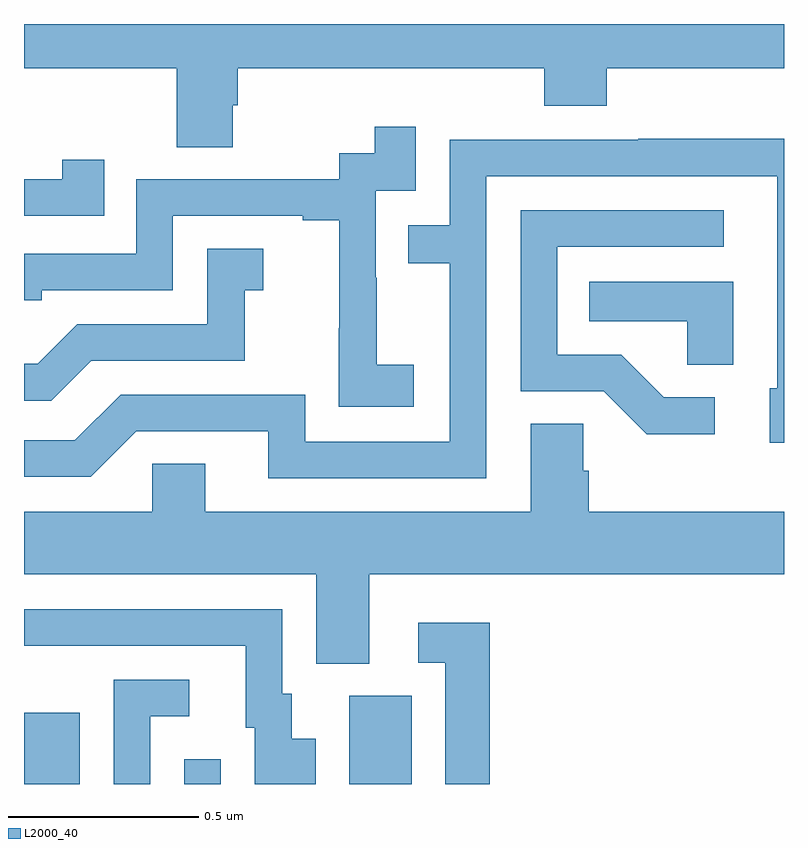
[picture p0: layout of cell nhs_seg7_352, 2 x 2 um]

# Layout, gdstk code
import gdstk
lib = gdstk.Library(unit=1e-6, precision=1e-09)
def R(c, l, rs):  # rectangles x0, y0, x1, y1
    for r in rs: c.add(gdstk.rectangle(r[:2], r[2:], *l))
def P(c, l, *ps):  # polygons
    for p in ps: c.add(gdstk.Polygon(p, *l))
L2000_40 = (2000, 40)

nhs_seg7_352 = lib.new_cell('nhs_seg7_352')
R(nhs_seg7_352, L2000_40, [(115,1064,115.147,1064.188), (115.422,1064,115.518,1064.065), (115.856,1064,116.02,1064.232)])
P(nhs_seg7_352, L2000_40, [(115.549,1065.786),(115.562,1065.786),(115.562,1065.884),(116.369,1065.884),(116.369,1065.785),(116.534,1065.785),(116.534,1065.884),(117,1065.884),(117,1066),(115,1066),(115,1065.884),(115.402,1065.884),(115.402,1065.676),(115.549,1065.676)],
  [(116.026,1065.103),(115.928,1065.103),(115.928,1065.332),(115.926,1065.332),(115.926,1065.561),(116.031,1065.561),(116.031,1065.73),(115.923,1065.73),(115.923,1065.66),(115.83,1065.66),(115.83,1065.591),(115.296,1065.591),(115.296,1065.396),(115,1065.396),(115,1065.273),(115.047,1065.273),(115.047,1065.3),(115.392,1065.3),(115.392,1065.495),(115.733,1065.495),(115.733,1065.483),(115.829,1065.483),(115.829,1065.199),(115.828,1065.199),(115.828,1064.993),(116.026,1064.993)],
  [(116.217,1065.6),(116.982,1065.6),(116.982,1065.042),(116.963,1065.042),(116.963,1064.898),(117,1064.898),(117,1065.698),(116.617,1065.698),(116.617,1065.696),(116.121,1065.696),(116.121,1065.471),(116.011,1065.471),(116.011,1065.37),(116.121,1065.37),(116.121,1064.901),(115.74,1064.901),(115.74,1065.024),(115.254,1065.024),(115.134,1064.904),(115,1064.904),(115,1064.808),(115.176,1064.808),(115.296,1064.928),(115.643,1064.928),(115.643,1064.805),(116.217,1064.805)],
  [(115.211,1065.643),(115.1,1065.643),(115.1,1065.591),(115,1065.591),(115,1065.495),(115.211,1065.495)],
  [(116.818,1065.018),(116.683,1065.018),(116.572,1065.129),(116.403,1065.129),(116.403,1065.414),(116.842,1065.414),(116.842,1065.51),(116.307,1065.51),(116.307,1065.033),(116.526,1065.033),(116.639,1064.921),(116.818,1064.921)],
  [(115.177,1065.114),(115.581,1065.114),(115.581,1065.299),(115.63,1065.299),(115.63,1065.409),(115.482,1065.409),(115.482,1065.21),(115.14,1065.21),(115.036,1065.106),(115,1065.106),(115,1065.009),(115.072,1065.009)],
  [(116.866,1065.322),(116.488,1065.322),(116.488,1065.218),(116.745,1065.218),(116.745,1065.103),(116.866,1065.103)],
  [(115.909,1064.552),(117,1064.552),(117,1064.716),(116.486,1064.716),(116.486,1064.825),(116.472,1064.825),(116.472,1064.948),(116.333,1064.948),(116.333,1064.716),(115.477,1064.716),(115.477,1064.843),(115.338,1064.843),(115.338,1064.716),(115,1064.716),(115,1064.552),(115.769,1064.552),(115.769,1064.317),(115.909,1064.317)],
  [(115.768,1064.119),(115.705,1064.119),(115.705,1064.238),(115.68,1064.238),(115.68,1064.46),(115,1064.46),(115,1064.364),(115.583,1064.364),(115.583,1064.148),(115.607,1064.148),(115.607,1064),(115.768,1064)],
  [(116.225,1064.425),(116.037,1064.425),(116.037,1064.319),(116.109,1064.319),(116.109,1064),(116.225,1064)],
  [(115.332,1064.178),(115.435,1064.178),(115.435,1064.274),(115.236,1064.274),(115.236,1064),(115.332,1064)])

lib.write_gds('nhs_seg7_352.gds')
